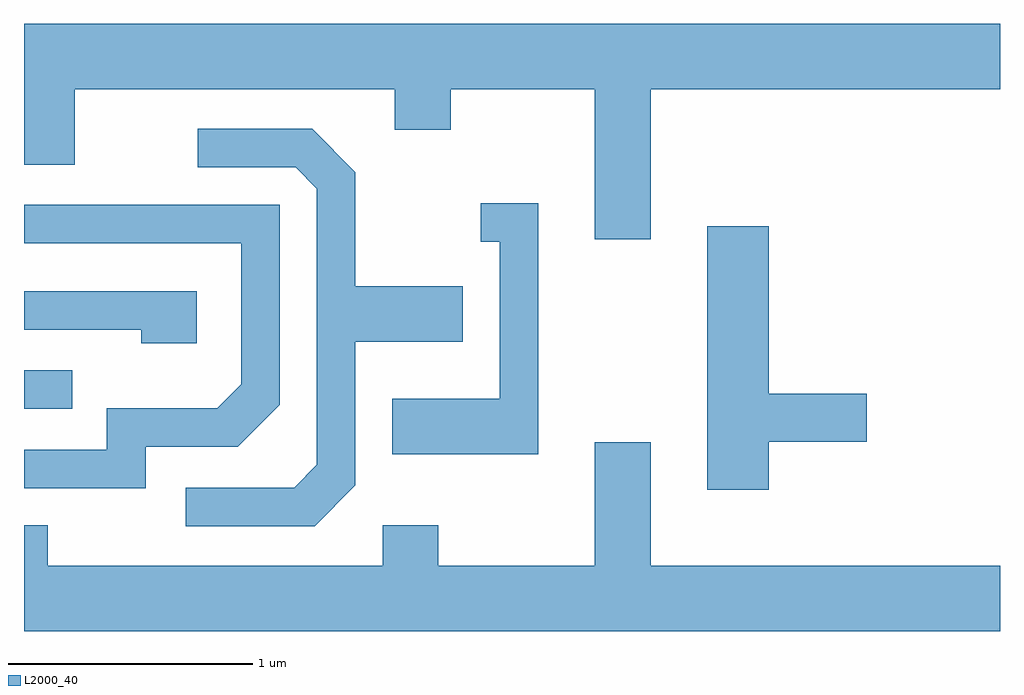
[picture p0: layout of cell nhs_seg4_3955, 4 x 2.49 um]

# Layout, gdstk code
import gdstk
lib = gdstk.Library(unit=1e-6, precision=1e-09)
def R(c, l, rs):  # rectangles x0, y0, x1, y1
    for r in rs: c.add(gdstk.rectangle(r[:2], r[2:], *l))
def P(c, l, *ps):  # polygons
    for p in ps: c.add(gdstk.Polygon(p, *l))
L2000_40 = (2000, 40)

nhs_seg4_3955 = lib.new_cell('nhs_seg4_3955')
R(nhs_seg4_3955, L2000_40, [(301.611,1277.886,301.808,1278.044)])
P(nhs_seg4_3955, L2000_40, [(304.179,1279.196),(305.611,1279.196),(305.611,1279.464),(301.611,1279.464),(301.611,1278.886),(301.819,1278.886),(301.819,1279.196),(303.131,1279.196),(303.131,1279.031),(303.359,1279.031),(303.359,1279.196),(303.951,1279.196),(303.951,1278.581),(304.179,1278.581)],
  [(302.969,1277.574),(302.969,1278.161),(303.409,1278.161),(303.409,1278.389),(302.969,1278.389),(302.969,1278.857),(302.792,1279.034),(302.323,1279.034),(302.323,1278.876),(302.724,1278.876),(302.811,1278.789),(302.811,1277.657),(302.719,1277.564),(302.273,1277.564),(302.273,1277.406),(302.802,1277.406)],
  [(303.719,1278.729),(303.483,1278.729),(303.483,1278.571),(303.561,1278.571),(303.561,1277.929),(303.121,1277.929),(303.121,1277.701),(303.719,1277.701)],
  [(302.109,1277.731),(302.487,1277.731),(302.659,1277.904),(302.659,1278.724),(301.611,1278.724),(301.611,1278.566),(302.501,1278.566),(302.501,1277.987),(302.404,1277.889),(301.951,1277.889),(301.951,1277.719),(301.611,1277.719),(301.611,1277.561),(302.109,1277.561)],
  [(304.664,1277.751),(305.064,1277.751),(305.064,1277.949),(304.664,1277.949),(304.664,1278.634),(304.411,1278.634),(304.411,1277.556),(304.664,1277.556)],
  [(302.319,1278.369),(301.611,1278.369),(301.611,1278.211),(302.091,1278.211),(302.091,1278.156),(302.319,1278.156)],
  [(305.611,1277.244),(304.179,1277.244),(304.179,1277.749),(303.951,1277.749),(303.951,1277.244),(303.309,1277.244),(303.309,1277.409),(303.081,1277.409),(303.081,1277.244),(301.709,1277.244),(301.709,1277.409),(301.611,1277.409),(301.611,1276.976),(305.611,1276.976)])

lib.write_gds('nhs_seg4_3955.gds')
